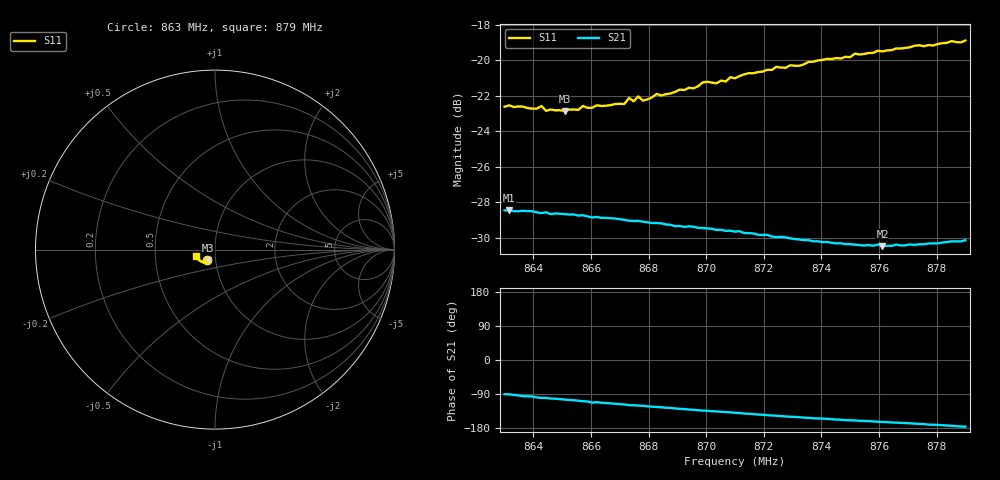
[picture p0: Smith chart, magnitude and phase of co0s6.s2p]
# HZ S RI R 50
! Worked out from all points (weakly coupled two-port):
!   101 points, 863 MHz to 879 MHz, reference 50 ohm
!   highest |S21| = -28.45 dB at 863.16 MHz (marker M1); lowest = -30.5 dB at 876.12 MHz (marker M2)
!   lowest |S11| = -22.9 dB at 865.08 MHz (marker M3), VSWR 1.16, Z = 45.9 - j5.6 ohm
!   |S11| at or under -10 dB: start of sweep to end of sweep
!   S12 and S22 are empty: the file has one direction only
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8.63e8  -0.0427 -0.0603  -0.000111 -0.0377  0 0  0 0
8.6316e8  -0.0439 -0.0602  -0.000381 -0.0378  0 0  0 0
8.6428e8  -0.041 -0.0619  -0.00649 -0.0365  0 0  0 0
8.6508e8  -0.0387 -0.0607  -0.00918 -0.0357  0 0  0 0
8.6556e8  -0.0387 -0.0612  -0.011 -0.0348  0 0  0 0
8.6572e8  -0.0394 -0.063  -0.0118 -0.0346  0 0  0 0
8.6716e8  -0.0387 -0.0645  -0.0163 -0.0315  0 0  0 0
8.6732e8  -0.0433 -0.0652  -0.0172 -0.0308  0 0  0 0
8.6748e8  -0.0398 -0.0654  -0.0173 -0.0307  0 0  0 0
8.6764e8  -0.0418 -0.0671  -0.0177 -0.0305  0 0  0 0
8.678e8  -0.0402 -0.0656  -0.0181 -0.03  0 0  0 0
8.6828e8  -0.0423 -0.0682  -0.0194 -0.0289  0 0  0 0
8.6844e8  -0.0427 -0.067  -0.0198 -0.0285  0 0  0 0
8.6956e8  -0.0463 -0.0692  -0.0224 -0.0255  0 0  0 0
8.6988e8  -0.0487 -0.0715  -0.0231 -0.0244  0 0  0 0
8.7036e8  -0.0496 -0.0703  -0.0237 -0.0233  0 0  0 0
8.71e8  -0.0537 -0.0707  -0.0249 -0.0214  0 0  0 0
8.7244e8  -0.0643 -0.0709  -0.0266 -0.0173  0 0  0 0
8.7372e8  -0.0711 -0.0687  -0.0277 -0.0137  0 0  0 0
8.7612e8  -0.0882 -0.0584  -0.0287 -0.00848  0 0  0 0
8.7644e8  -0.0899 -0.0574  -0.029 -0.00777  0 0  0 0
8.79e8  -0.1071 -0.0378  -0.031 -0.00221  0 0  0 0
